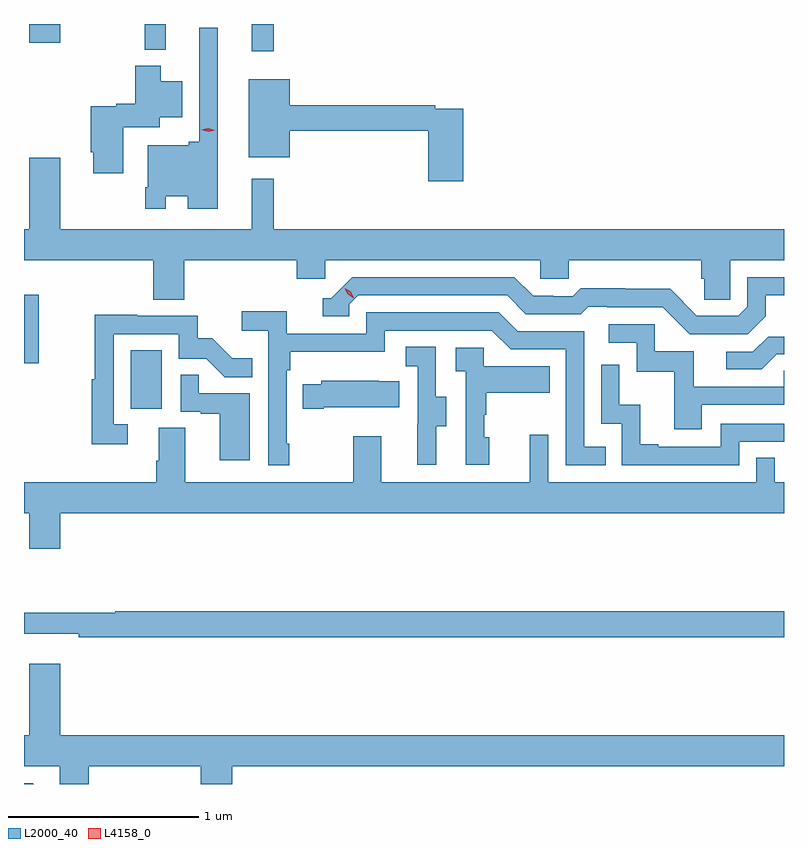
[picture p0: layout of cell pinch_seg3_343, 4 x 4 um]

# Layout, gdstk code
import gdstk
lib = gdstk.Library(unit=1e-6, precision=1e-09)
def R(c, l, rs):  # rectangles x0, y0, x1, y1
    for r in rs: c.add(gdstk.rectangle(r[:2], r[2:], *l))
def P(c, l, *ps):  # polygons
    for p in ps: c.add(gdstk.Polygon(p, *l))
L2000_40 = (2000, 40)
L4158_0 = (4158, 0)

pinch_seg3_343 = lib.new_cell('pinch_seg3_343')
R(pinch_seg3_343, L2000_40, [(956.75,721.446,956.914,721.753), (956.188,721.686,956.266,722.047), (957.386,723.327,957.503,723.471), (956.823,723.335,956.933,723.471), (956.216,723.372,956.38,723.471)])
P(pinch_seg3_343, L2000_40, [(956.934,722.564),(957.05,722.564),(957.05,722.499),(957.208,722.499),(957.208,723.451),(957.111,723.451),(957.111,722.851),(957.054,722.851),(957.054,722.833),(956.838,722.833),(956.838,722.611),(956.826,722.611),(956.826,722.499),(956.934,722.499)],
  [(956.71,722.927),(956.902,722.927),(956.902,722.981),(957.022,722.981),(957.022,723.169),(956.908,723.169),(956.908,723.25),(956.774,723.25),(956.774,723.05),(956.673,723.05),(956.673,723.037),(956.54,723.037),(956.54,722.797),(956.552,722.797),(956.552,722.685),(956.71,722.685)],
  [(958.499,723.024),(958.352,723.024),(958.352,723.044),(957.586,723.044),(957.586,723.181),(957.371,723.181),(957.371,722.771),(957.586,722.771),(957.586,722.908),(958.316,722.908),(958.316,722.643),(958.499,722.643)],
  [(957.032,722.228),(957.623,722.228),(957.623,722.13),(957.774,722.13),(957.774,722.228),(958.905,722.228),(958.905,722.13),(959.055,722.13),(959.055,722.228),(959.753,722.228),(959.753,722.13),(959.767,722.13),(959.767,722.02),(959.904,722.02),(959.904,722.228),(960.188,722.228),(960.188,722.392),(957.503,722.392),(957.503,722.656),(957.386,722.656),(957.386,722.392),(956.38,722.392),(956.38,722.767),(956.216,722.767),(956.216,722.392),(956.188,722.392),(956.188,722.228),(956.867,722.228),(956.867,722.02),(957.032,722.02)],
  [(960.091,721.933),(960.091,722.043),(960.188,722.043),(960.188,722.139),(959.994,722.139),(959.994,721.983),(959.946,721.935),(959.73,721.935),(959.588,722.077),(959.352,722.077),(959.352,722.08),(959.119,722.08),(959.077,722.037),(958.974,722.037),(958.974,722.04),(958.867,722.04),(958.768,722.139),(957.915,722.139),(957.804,722.028),(957.761,722.028),(957.761,721.932),(957.9,721.932),(957.9,721.995),(957.948,722.043),(958.731,722.043),(958.83,721.944),(959.119,721.944),(959.158,721.983),(959.257,721.983),(959.257,721.98),(959.55,721.98),(959.691,721.839),(959.997,721.839)],
  [(957.583,721.261),(957.57,721.261),(957.57,721.649),(957.59,721.649),(957.59,721.745),(958.086,721.745),(958.086,721.857),(958.65,721.857),(958.749,721.758),(959.04,721.758),(959.04,721.149),(959.249,721.149),(959.249,721.245),(959.136,721.245),(959.136,721.854),(958.786,721.854),(958.687,721.953),(957.99,721.953),(957.99,721.842),(957.572,721.842),(957.572,721.958),(957.333,721.958),(957.333,721.856),(957.474,721.856),(957.474,721.149),(957.583,721.149)],
  [(956.734,721.365),(956.661,721.365),(956.661,721.839),(957.003,721.839),(957.003,721.71),(957.147,721.71),(957.245,721.612),(957.389,721.612),(957.389,721.711),(957.285,721.711),(957.178,721.818),(957.102,721.818),(957.102,721.935),(956.783,721.935),(956.783,721.94),(956.56,721.94),(956.56,721.602),(956.545,721.602),(956.545,721.26),(956.734,721.26)],
  [(959.755,721.467),(960.188,721.467),(960.188,721.647),(960.187,721.647),(960.187,721.563),(959.713,721.563),(959.713,721.749),(959.508,721.749),(959.508,721.89),(959.265,721.89),(959.265,721.794),(959.412,721.794),(959.412,721.641),(959.611,721.641),(959.611,721.338),(959.755,721.338)],
  [(960.151,721.734),(960.188,721.734),(960.188,721.826),(960.104,721.826),(960.024,721.746),(959.883,721.746),(959.883,721.653),(960.07,721.653)],
  [(958.357,721.354),(958.411,721.354),(958.411,721.509),(958.356,721.509),(958.356,721.772),(958.197,721.772),(958.197,721.669),(958.26,721.669),(958.26,721.365),(958.259,721.365),(958.259,721.152),(958.357,721.152)],
  [(958.636,721.296),(958.611,721.296),(958.611,721.415),(958.621,721.415),(958.621,721.529),(958.955,721.529),(958.955,721.669),(958.608,721.669),(958.608,721.767),(958.461,721.767),(958.461,721.643),(958.512,721.643),(958.512,721.152),(958.636,721.152)],
  [(959.952,721.272),(960.188,721.272),(960.188,721.368),(959.856,721.368),(959.856,721.245),(959.527,721.245),(959.527,721.258),(959.432,721.258),(959.432,721.466),(959.322,721.466),(959.322,721.678),(959.226,721.678),(959.226,721.368),(959.334,721.368),(959.334,721.149),(959.952,721.149)],
  [(957.376,721.527),(957.107,721.527),(957.107,721.625),(957.012,721.625),(957.012,721.431),(957.119,721.431),(957.119,721.419),(957.218,721.419),(957.218,721.176),(957.376,721.176)],
  [(957.766,721.454),(958.163,721.454),(958.163,721.591),(958.055,721.591),(958.055,721.594),(957.753,721.594),(957.753,721.576),(957.655,721.576),(957.655,721.447),(957.766,721.447)],
  [(956.38,720.896),(960.188,720.896),(960.188,721.06),(960.138,721.06),(960.138,721.187),(960.042,721.187),(960.042,721.06),(958.947,721.06),(958.947,721.309),(958.85,721.309),(958.85,721.06),(958.069,721.06),(958.069,721.3),(957.922,721.3),(957.922,721.06),(957.037,721.06),(957.037,721.346),(956.897,721.346),(956.897,721.172),(956.885,721.172),(956.885,721.06),(956.188,721.06),(956.188,720.896),(956.216,720.896),(956.216,720.708),(956.38,720.708)],
  [(960.188,720.38),(956.669,720.38),(956.669,720.373),(956.188,720.373),(956.188,720.263),(956.476,720.263),(956.476,720.244),(960.188,720.244)],
  [(956.528,719.564),(957.119,719.564),(957.119,719.471),(957.284,719.471),(957.284,719.564),(960.188,719.564),(960.188,719.728),(956.38,719.728),(956.38,720.103),(956.216,720.103),(956.216,719.728),(956.188,719.728),(956.188,719.564),(956.376,719.564),(956.376,719.471),(956.528,719.471)],
  [(956.235,719.475),(956.188,719.475),(956.188,719.471),(956.239,719.471)])
P(pinch_seg3_343, L4158_0, [(957.157,722.903),(957.122,722.914),(957.122,722.914),(957.122,722.914),(957.157,722.923),(957.192,722.912),(957.193,722.912),(957.192,722.911)],
  [(957.923,722.028),(957.893,722.048),(957.877,722.081),(957.877,722.081),(957.877,722.081),(957.908,722.061),(957.923,722.028),(957.923,722.028)])

lib.write_gds('pinch_seg3_343.gds')
